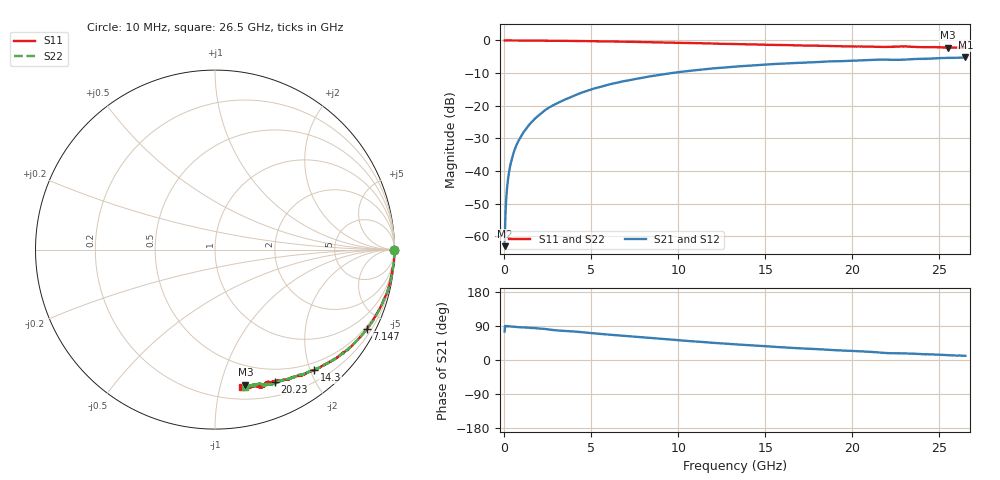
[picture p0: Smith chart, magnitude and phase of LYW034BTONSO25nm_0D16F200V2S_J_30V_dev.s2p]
!Keysight Technologies,N5222B,MY61253708,A.15.00.15
!Date: Wednesday, June 19, 2024 08:54:10
!Correction: S11(C  2-Port  )
!S21(C  2-Port  )
!S12(C  2-Port  )
!S22(C  2-Port  )
!S2P File: Measurements: S11, S21, S12, S22:
# Hz S  RI  R 50
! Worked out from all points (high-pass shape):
!   2651 points, 10 MHz to 26.5 GHz, reference 50 ohm
!   highest |S21| = -5.18 dB at 26.5 GHz (marker M1); lowest = -63.0 dB at 10 MHz (marker M2)
!   |S21| within 3 dB of the highest: 12.87522 GHz to 12.90084 GHz (25.61 MHz wide, 0.199 % of centre); 12.92 GHz to end of sweep
!   lowest |S11| = -2.3 dB at 25.5 GHz (marker M3), VSWR 7.75, Z = 16.1 - j59.9 ohm
!   |S11| at or under -10 dB: nowhere
!   |S22| runs from -2.2 to 0.0 dB; largest |S21 - S12| = 0.0075
!   S11 on the Smith chart (normalised r, x): 10 MHz: open; 7.147 GHz: 0.40, -4.03; 14.3 GHz: 0.38, -2.06; 20.23 GHz: 0.35, -1.49; 26.5 GHz: 0.30, -1.17
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1e7  0.9985 -0.0021  0.00018 0.000682  -0.000135 0.000844  0.9987 -0.000823
7.997358e7  0.9998 -0.00587  1.62e-05 0.00294  2.51e-06 0.00292  0.9994 -0.00547
1.799358e8  0.9998 -0.0128  9.01e-05 0.00653  9.88e-05 0.00653  0.9996 -0.0122
2.29917e8  0.9993 -0.017  0.000151 0.00828  0.000143 0.00837  0.9991 -0.0161
2.998906e8  0.9996 -0.0218  0.000208 0.0108  0.000275 0.011  0.9993 -0.0208
4.098491e8  0.9989 -0.0294  0.000462 0.0148  0.000486 0.0149  0.9992 -0.0282
5.497962e8  0.9985 -0.0393  0.00072 0.0198  0.0008 0.02  0.9984 -0.0381
9.096604e8  0.997 -0.0646  0.00208 0.0325  0.00208 0.0327  0.9969 -0.0633
1.509434e9  0.9888 -0.1068  0.00516 0.0541  0.00519 0.0544  0.9916 -0.1039
2.369109e9  0.9789 -0.1632  0.0126 0.0858  0.0129 0.0862  0.9804 -0.1629
3.228785e9  0.9641 -0.2205  0.0251 0.113  0.0253 0.1137  0.9662 -0.2172
4.428332e9  0.9343 -0.2944  0.045 0.1521  0.0454 0.153  0.9363 -0.2911
7.147306e9  0.8457 -0.4426  0.1131 0.2184  0.1143 0.2193  0.8489 -0.4404
8.846664e9  0.7797 -0.5179  0.1632 0.2469  0.1647 0.2477  0.7823 -0.5153
1.3255e10  0.5941 -0.6498  0.2975 0.263  0.2997 0.2629  0.599 -0.6478
1.43046e10  0.552 -0.6713  0.3256 0.257  0.3271 0.2571  0.5576 -0.6671
1.767333e10  0.418 -0.718  0.4034 0.2259  0.4067 0.2247  0.4311 -0.7158
2.023237e10  0.3332 -0.7353  0.4529 0.1938  0.4547 0.1924  0.3484 -0.7355
2.209166e10  0.2855 -0.7416  0.482 0.1574  0.4836 0.1552  0.2817 -0.7489
2.308129e10  0.2563 -0.7691  0.4867 0.1524  0.4875 0.1524  0.2586 -0.751
2.550038e10  0.1698 -0.7524  0.5273 0.1168  0.5287 0.1178  0.1916 -0.7585
2.65e10  0.1519 -0.767  0.5405 0.1058  0.5396 0.1028  0.1658 -0.7674
